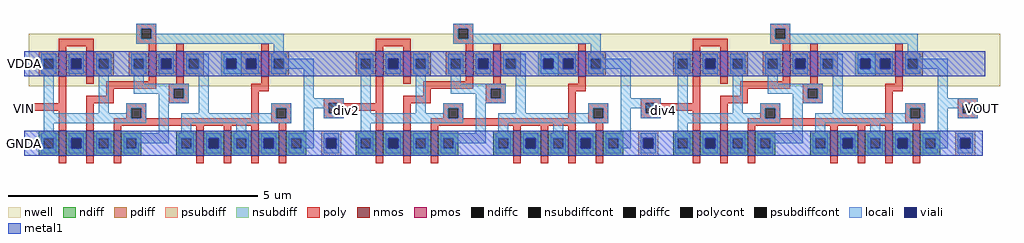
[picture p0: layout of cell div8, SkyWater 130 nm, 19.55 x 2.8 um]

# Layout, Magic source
magic
tech sky130A
<< nwell >>
rect 530 155 670 260
rect 1170 155 1320 260
rect 1805 155 1945 260
<< poly >>
rect 590 120 630 130
rect 1225 120 1265 130
rect 1860 120 1900 130
rect -10 105 0 120
rect 590 100 600 120
rect 620 105 635 120
rect 620 100 630 105
rect 590 90 630 100
rect 1225 100 1235 120
rect 1255 105 1270 120
rect 1255 100 1265 105
rect 1225 90 1265 100
rect 1860 100 1870 120
rect 1890 105 1910 120
rect 1890 100 1900 105
rect 1860 90 1900 100
<< polycont >>
rect 600 100 620 120
rect 1235 100 1255 120
rect 1870 100 1890 120
<< locali >>
rect 590 120 630 130
rect 590 100 600 120
rect 620 100 630 120
rect 590 90 630 100
rect 1225 120 1265 130
rect 1225 100 1235 120
rect 1255 100 1265 120
rect 1225 90 1265 100
rect 1860 120 1900 130
rect 1860 100 1870 120
rect 1890 100 1900 120
rect 1860 90 1900 100
<< metal1 >>
rect -10 175 0 225
rect 540 175 635 225
rect 1175 175 1300 225
rect 1810 175 1915 225
rect -10 15 0 65
rect 620 15 655 65
rect 1255 15 1285 65
rect 1895 15 1910 65
use div2_3  div2_3_0
transform 1 0 665 0 1 50
box 605 -50 1230 230
use div2_3  div2_3_1
transform 1 0 -605 0 1 50
box 605 -50 1230 230
use div2_3  div2_3_2
transform 1 0 30 0 1 50
box 605 -50 1230 230
<< labels >>
flabel poly -10 110 -10 110 7 FreeSans 160 0 -80 0 VIN
port 2 w
flabel metal1 -10 200 -10 200 7 FreeSans 160 0 -80 0 VDDA
port 3 w
flabel metal1 -10 40 -10 40 7 FreeSans 160 0 -80 0 GNDA
port 4 w
flabel poly 635 105 635 105 5 FreeSans 160 0 0 -80 div2
flabel poly 1270 105 1270 105 5 FreeSans 160 0 0 -80 div4
flabel poly 1910 110 1910 110 3 FreeSans 160 0 0 80 VOUT
port 1 e
<< end >>

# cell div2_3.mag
magic
tech sky130A
<< nwell >>
rect 605 105 1145 210
<< nmos >>
rect 665 -35 680 15
rect 720 -35 735 15
rect 775 -35 790 15
rect 940 -35 955 15
rect 995 -35 1010 15
rect 1050 -35 1065 15
rect 1105 -35 1120 15
<< pmos >>
rect 665 125 680 175
rect 720 125 735 175
rect 845 125 860 175
rect 900 125 915 175
rect 1070 125 1085 175
<< ndiff >>
rect 625 0 665 15
rect 625 -20 635 0
rect 655 -20 665 0
rect 625 -35 665 -20
rect 680 0 720 15
rect 680 -20 690 0
rect 710 -20 720 0
rect 680 -35 720 -20
rect 735 0 775 15
rect 735 -20 745 0
rect 765 -20 775 0
rect 735 -35 775 -20
rect 790 0 830 15
rect 790 -20 800 0
rect 820 -20 830 0
rect 790 -35 830 -20
rect 900 0 940 15
rect 900 -20 910 0
rect 930 -20 940 0
rect 900 -35 940 -20
rect 955 0 995 15
rect 955 -20 965 0
rect 985 -20 995 0
rect 955 -35 995 -20
rect 1010 0 1050 15
rect 1010 -20 1020 0
rect 1040 -20 1050 0
rect 1010 -35 1050 -20
rect 1065 0 1105 15
rect 1065 -20 1075 0
rect 1095 -20 1105 0
rect 1065 -35 1105 -20
rect 1120 0 1160 15
rect 1120 -20 1130 0
rect 1150 -20 1160 0
rect 1120 -35 1160 -20
<< pdiff >>
rect 625 160 665 175
rect 625 140 635 160
rect 655 140 665 160
rect 625 125 665 140
rect 680 160 720 175
rect 680 140 690 160
rect 710 140 720 160
rect 680 125 720 140
rect 735 160 775 175
rect 735 140 745 160
rect 765 140 775 160
rect 735 125 775 140
rect 805 160 845 175
rect 805 140 815 160
rect 835 140 845 160
rect 805 125 845 140
rect 860 160 900 175
rect 860 140 870 160
rect 890 140 900 160
rect 860 125 900 140
rect 915 160 955 175
rect 915 140 925 160
rect 945 140 955 160
rect 915 125 955 140
rect 1030 160 1070 175
rect 1030 140 1040 160
rect 1060 140 1070 160
rect 1030 125 1070 140
rect 1085 160 1125 175
rect 1085 140 1095 160
rect 1115 140 1125 160
rect 1085 125 1125 140
<< ndiffc >>
rect 635 -20 655 0
rect 690 -20 710 0
rect 745 -20 765 0
rect 800 -20 820 0
rect 910 -20 930 0
rect 965 -20 985 0
rect 1020 -20 1040 0
rect 1075 -20 1095 0
rect 1130 -20 1150 0
<< pdiffc >>
rect 635 140 655 160
rect 690 140 710 160
rect 745 140 765 160
rect 815 140 835 160
rect 870 140 890 160
rect 925 140 945 160
rect 1040 140 1060 160
rect 1095 140 1115 160
<< psubdiff >>
rect 1190 0 1230 15
rect 1190 -20 1200 0
rect 1220 -20 1230 0
rect 1190 -35 1230 -20
<< nsubdiff >>
rect 990 160 1030 175
rect 990 140 1000 160
rect 1020 140 1030 160
rect 990 125 1030 140
<< psubdiffcont >>
rect 1200 -20 1220 0
<< nsubdiffcont >>
rect 1000 140 1020 160
<< poly >>
rect 820 220 860 230
rect 820 200 830 220
rect 850 200 860 220
rect 665 185 735 200
rect 820 190 860 200
rect 665 175 680 185
rect 720 175 735 185
rect 845 175 860 190
rect 900 175 915 190
rect 1070 175 1085 190
rect 665 70 680 125
rect 720 110 735 125
rect 845 115 860 125
rect 760 100 860 115
rect 900 110 915 125
rect 1070 110 1085 125
rect 885 100 925 110
rect 760 85 775 100
rect 605 55 680 70
rect 665 15 680 55
rect 720 70 775 85
rect 885 80 895 100
rect 915 80 925 100
rect 885 70 925 80
rect 1050 95 1085 110
rect 720 15 735 70
rect 800 60 840 70
rect 800 40 810 60
rect 830 40 840 60
rect 1050 40 1065 95
rect 775 25 1065 40
rect 1090 60 1130 70
rect 1090 40 1100 60
rect 1120 40 1130 60
rect 1090 30 1130 40
rect 775 15 790 25
rect 940 15 955 25
rect 995 15 1010 25
rect 1050 15 1065 25
rect 1105 15 1120 30
rect 665 -50 680 -35
rect 720 -50 735 -35
rect 775 -50 790 -35
rect 940 -50 955 -35
rect 995 -50 1010 -35
rect 1050 -50 1065 -35
rect 1105 -50 1120 -35
<< polycont >>
rect 830 200 850 220
rect 895 80 915 100
rect 810 40 830 60
rect 1100 40 1120 60
<< locali >>
rect 820 220 860 230
rect 820 200 830 220
rect 850 210 860 220
rect 850 200 1115 210
rect 820 190 1115 200
rect 1095 170 1115 190
rect 630 160 660 170
rect 630 140 635 160
rect 655 140 660 160
rect 630 130 660 140
rect 685 160 715 170
rect 685 140 690 160
rect 710 140 715 160
rect 685 130 715 140
rect 740 160 770 170
rect 740 140 745 160
rect 765 140 770 160
rect 740 130 770 140
rect 810 160 840 170
rect 810 140 815 160
rect 835 140 840 160
rect 810 130 840 140
rect 865 160 895 170
rect 865 140 870 160
rect 890 140 895 160
rect 865 130 895 140
rect 920 160 965 170
rect 920 140 925 160
rect 945 140 965 160
rect 920 130 965 140
rect 995 160 1065 170
rect 995 140 1000 160
rect 1020 140 1040 160
rect 1060 140 1065 160
rect 995 130 1065 140
rect 1090 160 1120 170
rect 1090 140 1095 160
rect 1115 140 1175 160
rect 1090 130 1120 140
rect 635 50 655 130
rect 745 50 765 130
rect 815 110 835 130
rect 815 100 925 110
rect 815 90 895 100
rect 865 80 895 90
rect 915 80 925 100
rect 865 70 925 80
rect 800 60 840 70
rect 800 50 810 60
rect 635 40 810 50
rect 830 40 840 60
rect 635 30 840 40
rect 635 10 655 30
rect 865 10 885 70
rect 945 50 965 130
rect 1155 80 1175 140
rect 1090 60 1130 70
rect 1090 50 1100 60
rect 910 40 1100 50
rect 1120 40 1130 60
rect 910 30 1130 40
rect 1155 60 1230 80
rect 910 10 930 30
rect 1020 10 1040 30
rect 1155 10 1175 60
rect 630 0 660 10
rect 630 -20 635 0
rect 655 -20 660 0
rect 630 -30 660 -20
rect 685 0 715 10
rect 685 -20 690 0
rect 710 -20 715 0
rect 685 -30 715 -20
rect 740 0 770 10
rect 740 -20 745 0
rect 765 -20 770 0
rect 740 -30 770 -20
rect 795 0 885 10
rect 795 -20 800 0
rect 820 -10 885 0
rect 905 0 935 10
rect 820 -20 825 -10
rect 795 -30 825 -20
rect 905 -20 910 0
rect 930 -20 935 0
rect 905 -30 935 -20
rect 960 0 990 10
rect 960 -20 965 0
rect 985 -20 990 0
rect 960 -30 990 -20
rect 1015 0 1045 10
rect 1015 -20 1020 0
rect 1040 -20 1045 0
rect 1015 -30 1045 -20
rect 1070 0 1100 10
rect 1070 -20 1075 0
rect 1095 -20 1100 0
rect 1070 -30 1100 -20
rect 1125 0 1175 10
rect 1125 -20 1130 0
rect 1150 -20 1175 0
rect 1195 0 1225 10
rect 1195 -20 1200 0
rect 1220 -20 1225 0
rect 1125 -30 1155 -20
rect 1195 -30 1225 -20
<< viali >>
rect 690 140 710 160
rect 870 140 890 160
rect 1000 140 1020 160
rect 1040 140 1060 160
rect 690 -20 710 0
rect 965 -20 985 0
rect 1075 -20 1095 0
rect 1200 -20 1220 0
<< metal1 >>
rect 605 160 1145 175
rect 605 140 690 160
rect 710 140 870 160
rect 890 140 1000 160
rect 1020 140 1040 160
rect 1060 140 1145 160
rect 605 125 1145 140
rect 605 0 1230 15
rect 605 -20 690 0
rect 710 -20 965 0
rect 985 -20 1075 0
rect 1095 -20 1200 0
rect 1220 -20 1230 0
rect 605 -35 1230 -20
<< labels >>
flabel metal1 605 150 605 150 7 FreeSans 160 0 -80 0 VDDA
flabel metal1 605 -10 605 -10 7 FreeSans 160 0 -80 0 GNDA
flabel poly 605 60 605 60 7 FreeSans 160 0 -80 0 VIN
flabel locali 965 80 965 80 3 FreeSans 160 0 80 0 C
flabel locali 1230 70 1230 70 3 FreeSans 160 0 80 0 VOUT
flabel locali 700 50 700 50 1 FreeSans 160 0 0 80 CLK
flabel locali 755 -30 755 -30 5 FreeSans 160 0 0 -80 B
flabel locali 885 55 885 55 3 FreeSans 160 0 80 0 A
<< end >>
